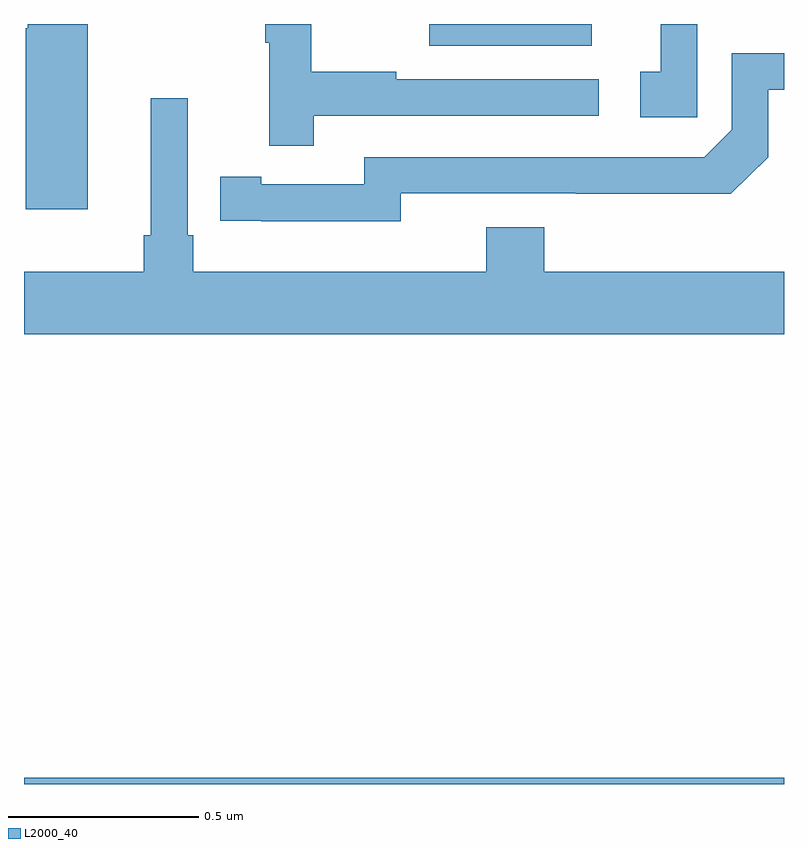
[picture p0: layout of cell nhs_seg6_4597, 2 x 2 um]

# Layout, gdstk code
import gdstk
lib = gdstk.Library(unit=1e-6, precision=1e-09)
def R(c, l, rs):  # rectangles x0, y0, x1, y1
    for r in rs: c.add(gdstk.rectangle(r[:2], r[2:], *l))
def P(c, l, *ps):  # polygons
    for p in ps: c.add(gdstk.Polygon(p, *l))
L2000_40 = (2000, 40)

nhs_seg6_4597 = lib.new_cell('nhs_seg6_4597')
R(nhs_seg6_4597, L2000_40, [(172,931.5,174,931.516), (173.067,933.443,173.494,933.5)])
P(nhs_seg6_4597, L2000_40, [(173.772,933.5),(173.675,933.5),(173.675,933.375),(173.622,933.375),(173.622,933.255),(173.772,933.255)],
  [(172.168,933.5),(172.01,933.5),(172.01,933.489),(172.004,933.489),(172.004,933.012),(172.168,933.012)],
  [(172.763,933.258),(173.512,933.258),(173.512,933.354),(172.979,933.354),(172.979,933.374),(172.756,933.374),(172.756,933.5),(172.635,933.5),(172.635,933.451),(172.646,933.451),(172.646,933.18),(172.763,933.18)],
  [(172.992,933.054),(173.452,933.054),(173.452,933.053),(173.86,933.053),(173.958,933.15),(173.958,933.327),(174,933.327),(174,933.423),(173.862,933.423),(173.862,933.222),(173.79,933.15),(172.896,933.15),(172.896,933.078),(172.624,933.078),(172.624,933.098),(172.516,933.098),(172.516,932.982),(172.624,932.982),(172.624,932.981),(172.992,932.981)],
  [(174,932.848),(173.369,932.848),(173.369,932.965),(173.216,932.965),(173.216,932.848),(172.445,932.848),(172.445,932.944),(172.431,932.944),(172.431,933.304),(172.334,933.304),(172.334,932.944),(172.315,932.944),(172.315,932.848),(172,932.848),(172,932.684),(174,932.684)])

lib.write_gds('nhs_seg6_4597.gds')
